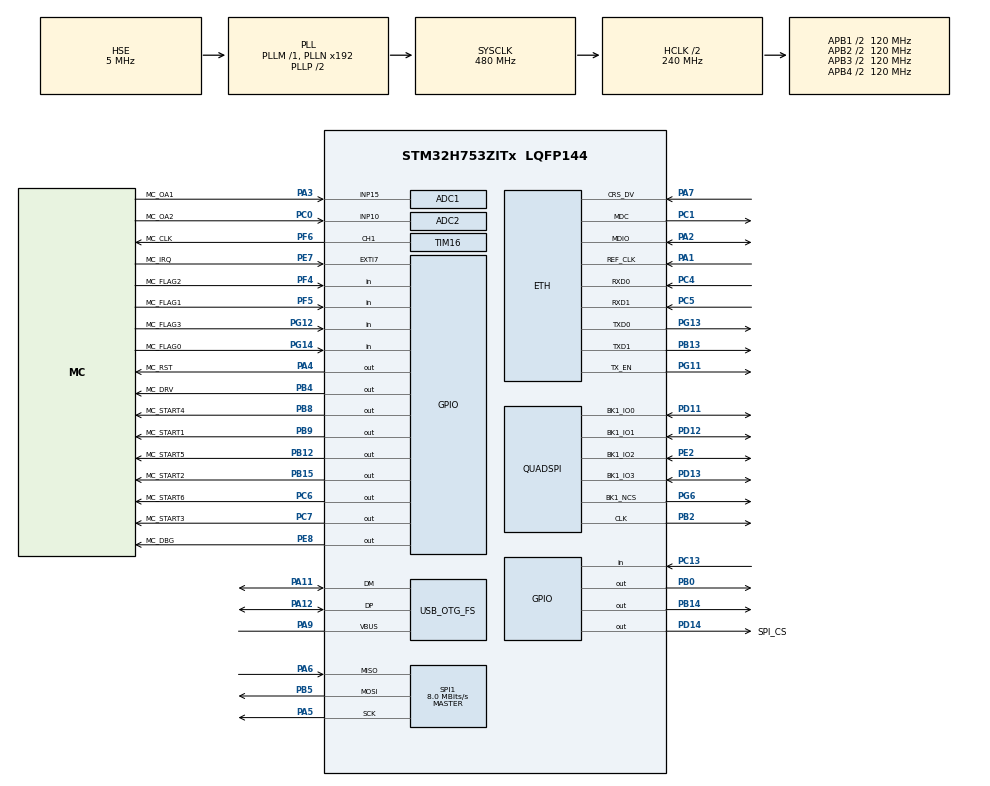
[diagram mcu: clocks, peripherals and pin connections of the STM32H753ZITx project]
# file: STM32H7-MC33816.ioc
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ADC1.Channel-0\#ChannelRegularConversion=ADC_CHANNEL_15
ADC1.ContinuousConvMode=DISABLE
ADC1.ConversionDataManagement=ADC_CONVERSIONDATA_DMA_CIRCULAR
ADC1.ExternalTrigConv=ADC_EXTERNALTRIG_T2_TRGO
ADC1.NbrOfConversion=1
ADC1.NbrOfConversionFlag=1
ADC1.OffsetNumber-0\#ChannelRegularConversion=ADC_OFFSET_NONE
ADC1.OffsetSignedSaturation-0\#ChannelRegularConversion=DISABLE
ADC1.Rank-0\#ChannelRegularConversion=1
ADC1.SamplingTime-0\#ChannelRegularConversion=ADC_SAMPLETIME_387CYCLES_5
ADC1.master=1
ADC2.Channel-0\#ChannelRegularConversion=ADC_CHANNEL_10
ADC2.ConversionDataManagement=ADC_CONVERSIONDATA_DMA_CIRCULAR
ADC2.ExternalTrigConv=ADC_EXTERNALTRIG_T2_TRGO
ADC2.NbrOfConversionFlag=1
ADC2.OffsetNumber-0\#ChannelRegularConversion=ADC_OFFSET_NONE
ADC2.OffsetSignedSaturation-0\#ChannelRegularConversion=DISABLE
ADC2.Rank-0\#ChannelRegularConversion=1
ADC2.SamplingTime-0\#ChannelRegularConversion=ADC_SAMPLETIME_387CYCLES_5
CORTEX_M7.AccessPermission-Cortex_Memory_Protection_Unit_Region1_Settings=MPU_REGION_FULL_ACCESS
CORTEX_M7.AccessPermission-Cortex_Memory_Protection_Unit_Region2_Settings=MPU_REGION_FULL_ACCESS
CORTEX_M7.BaseAddress-Cortex_Memory_Protection_Unit_Region1_Settings=0x30000000
CORTEX_M7.BaseAddress-Cortex_Memory_Protection_Unit_Region2_Settings=0x30000100
CORTEX_M7.CPU_DCache=Enabled
CORTEX_M7.CPU_ICache=Enabled
CORTEX_M7.DisableExec-Cortex_Memory_Protection_Unit_Region0_Settings=MPU_INSTRUCTION_ACCESS_DISABLE
CORTEX_M7.Enable-Cortex_Memory_Protection_Unit_Region0_Settings=MPU_REGION_ENABLE
CORTEX_M7.Enable-Cortex_Memory_Protection_Unit_Region1_Settings=MPU_REGION_ENABLE
CORTEX_M7.Enable-Cortex_Memory_Protection_Unit_Region2_Settings=MPU_REGION_ENABLE
CORTEX_M7.IsBufferable-Cortex_Memory_Protection_Unit_Region1_Settings=MPU_ACCESS_BUFFERABLE
CORTEX_M7.IsShareable-Cortex_Memory_Protection_Unit_Region0_Settings=MPU_ACCESS_SHAREABLE
CORTEX_M7.IsShareable-Cortex_Memory_Protection_Unit_Region2_Settings=MPU_ACCESS_SHAREABLE
CORTEX_M7.MPU_Control=MPU_PRIVILEGED_DEFAULT
CORTEX_M7.Size-Cortex_Memory_Protection_Unit_Region0_Settings=MPU_REGION_SIZE_4GB
CORTEX_M7.Size-Cortex_Memory_Protection_Unit_Region1_Settings=MPU_REGION_SIZE_256B
CORTEX_M7.Size-Cortex_Memory_Protection_Unit_Region2_Settings=MPU_REGION_SIZE_512KB
CORTEX_M7.SubRegionDisable-Cortex_Memory_Protection_Unit_Region0_Settings=0x87
CORTEX_M7.TypeExtField-Cortex_Memory_Protection_Unit_Region2_Settings=MPU_TEX_LEVEL1
CRYP.Algorithm=CRYP_AES_GCM
Dma.ADC1.0.Direction=DMA_PERIPH_TO_MEMORY
Dma.ADC1.0.EventEnable=DISABLE
Dma.ADC1.0.FIFOMode=DMA_FIFOMODE_DISABLE
Dma.ADC1.0.Instance=DMA1_Stream0
Dma.ADC1.0.MemDataAlignment=DMA_MDATAALIGN_HALFWORD
Dma.ADC1.0.MemInc=DMA_MINC_ENABLE
Dma.ADC1.0.Mode=DMA_CIRCULAR
Dma.ADC1.0.PeriphDataAlignment=DMA_PDATAALIGN_HALFWORD
Dma.ADC1.0.PeriphInc=DMA_PINC_DISABLE
Dma.ADC1.0.Polarity=HAL_DMAMUX_REQ_GEN_RISING
Dma.ADC1.0.Priority=DMA_PRIORITY_LOW
Dma.ADC1.0.RequestNumber=1
Dma.ADC1.0.SignalID=NONE
Dma.ADC1.0.SyncEnable=DISABLE
Dma.ADC1.0.SyncPolarity=HAL_DMAMUX_SYNC_NO_EVENT
Dma.ADC1.0.SyncRequestNumber=1
Dma.ADC1.0.SyncSignalID=NONE
Dma.ADC2.1.Direction=DMA_PERIPH_TO_MEMORY
Dma.ADC2.1.EventEnable=DISABLE
Dma.ADC2.1.FIFOMode=DMA_FIFOMODE_DISABLE
Dma.ADC2.1.Instance=DMA1_Stream1
Dma.ADC2.1.MemDataAlignment=DMA_MDATAALIGN_HALFWORD
Dma.ADC2.1.MemInc=DMA_MINC_ENABLE
Dma.ADC2.1.Mode=DMA_CIRCULAR
Dma.ADC2.1.PeriphDataAlignment=DMA_PDATAALIGN_HALFWORD
Dma.ADC2.1.PeriphInc=DMA_PINC_DISABLE
Dma.ADC2.1.Polarity=HAL_DMAMUX_REQ_GEN_RISING
Dma.ADC2.1.Priority=DMA_PRIORITY_LOW
Dma.ADC2.1.RequestNumber=1
Dma.ADC2.1.SignalID=NONE
Dma.ADC2.1.SyncEnable=DISABLE
Dma.ADC2.1.SyncPolarity=HAL_DMAMUX_SYNC_NO_EVENT
Dma.ADC2.1.SyncRequestNumber=1
Dma.ADC2.1.SyncSignalID=NONE
Dma.Request0=ADC1
Dma.Request1=ADC2
ETH.MediaInterface=HAL_ETH_RMII_MODE
FREERTOS.Tasks01=defaultTask,24,128,StartDefaultTask,Default,NULL,Dynamic,NULL,NULL
FREERTOS.configCHECK_FOR_STACK_OVERFLOW=2
FREERTOS.configENABLE_FPU=1
FREERTOS.configGENERATE_RUN_TIME_STATS=1
FREERTOS.configRECORD_STACK_HIGH_ADDRESS=1
FREERTOS.configTIMER_TASK_STACK_DEPTH=1024
FREERTOS.configUSE_STATS_FORMATTING_FUNCTIONS=1
HASH.KeySize=1
HASH.SecureHashAlgorithmType=HMAC SHA256
LWIP.BSP.number=1
LWIP.Version=v2.2.1_Cube
LWIP0.BSP.STBoard=false
LWIP0.BSP.api=BSP_COMPONENT_DRIVER
LWIP0.BSP.component=LAN8742
LWIP0.BSP.instance=LAN8742
LWIP0.BSP.name=Driver_PHY
LWIP0.BSP.semaphore=S_LAN8742
LWIP0.BSP.solution=LAN8742
Mcu.Family=STM32H7
Mcu.Name=STM32H753ZITx
Mcu.Package=LQFP144
NUCLEO-H753ZI.BUTTON=1
NUCLEO-H753ZI.LD1=true
NUCLEO-H753ZI.LD2=true
NUCLEO-H753ZI.LD3=true
NUCLEO-H753ZI.VCP=true
NVIC.ADC_IRQn=true\:5\:0\:false\:false\:true\:true\:true\:true\:true
NVIC.DMA1_Stream0_IRQn=true\:5\:0\:false\:false\:true\:true\:false\:true\:true
NVIC.DMA1_Stream1_IRQn=true\:5\:0\:false\:false\:true\:true\:false\:true\:true
NVIC.ETH_IRQn=true\:5\:0\:false\:false\:true\:true\:true\:true\:true
NVIC.EXTI15_10_IRQn=true\:5\:0\:false\:false\:true\:true\:false\:true\:true
NVIC.EXTI9_5_IRQn=true\:5\:0\:false\:false\:true\:true\:true\:true\:true
NVIC.OTG_FS_IRQn=true\:5\:0\:false\:false\:true\:true\:false\:true\:true
NVIC.PriorityGroup=NVIC_PRIORITYGROUP_4
NVIC.SPI1_IRQn=true\:5\:0\:false\:false\:true\:true\:true\:true\:true
NVIC.TIM6_DAC_IRQn=true\:15\:0\:true\:false\:true\:false\:false\:true\:true
NVIC.TimeBase=TIM6_DAC_IRQn
NVIC.TimeBaseIP=TIM6
PA1.Mode=RMII
PA1.Signal=ETH_REF_CLK
PA11.Mode=Device_Only
PA11.Signal=USB_OTG_FS_DM
PA12.Mode=Device_Only
PA12.Signal=USB_OTG_FS_DP
PA13\ (JTMS/SWDIO).Mode=Trace_Asynchronous_SW
PA13\ (JTMS/SWDIO).Signal=DEBUG_JTMS-SWDIO
PA14\ (JTCK/SWCLK).Mode=Trace_Asynchronous_SW
PA14\ (JTCK/SWCLK).Signal=DEBUG_JTCK-SWCLK
PA15\ (JTDI).Signal=DEBUG_JTDI
PA2.Mode=RMII
PA2.Signal=ETH_MDIO
PA3.GPIO_Label=MC_OA1
PA3.Signal=SharedAnalog_PA3
PA4.GPIO_Label=MC_RST
PA4.GPIO_PuPd=GPIO_NOPULL
PA4.Signal=GPIO_Output
PA5.Mode=Full_Duplex_Master
PA5.Signal=SPI1_SCK
PA6.Mode=Full_Duplex_Master
PA6.Signal=SPI1_MISO
PA7.Mode=RMII
PA7.Signal=ETH_CRS_DV
PA9.Mode=Activate_VBUS
PA9.Signal=USB_OTG_FS_VBUS
PB0.Signal=GPIO_Output
PB12.GPIO_Label=MC_START5
PB12.GPIO_PuPd=GPIO_NOPULL
PB12.Signal=GPIO_Output
PB13.Mode=RMII
PB13.Signal=ETH_TXD1
PB14.Signal=GPIO_Output
PB15.GPIO_Label=MC_START2
PB15.GPIO_PuPd=GPIO_NOPULL
PB15.Signal=GPIO_Output
PB2.Mode=Single Bank 1
PB2.Signal=QUADSPI_CLK
PB3\ (JTDO/TRACESWO).Mode=Trace_Asynchronous_SW
PB3\ (JTDO/TRACESWO).Signal=DEBUG_JTDO-SWO
PB4\ (NJTRST).GPIO_Label=MC_DRV
PB4\ (NJTRST).GPIO_PuPd=GPIO_NOPULL
PB4\ (NJTRST).Signal=GPIO_Output
PB5.Mode=Full_Duplex_Master
PB5.Signal=SPI1_MOSI
PB8.GPIO_Label=MC_START4
PB8.GPIO_PuPd=GPIO_NOPULL
PB8.Signal=GPIO_Output
PB9.GPIO_Label=MC_START1
PB9.GPIO_ModeDefaultOutputPP=GPIO_MODE_OUTPUT_PP
PB9.GPIO_PuPd=GPIO_NOPULL
PB9.Signal=GPIO_Output
PC0.GPIO_Label=MC_OA2
PC0.Signal=SharedAnalog_PC0
PC1.Mode=RMII
PC1.Signal=ETH_MDC
PC13.Signal=GPIO_Input
PC14-OSC32_IN\ (OSC32_IN).Mode=LSE-External-Oscillator
PC14-OSC32_IN\ (OSC32_IN).Signal=RCC_OSC32_IN
PC15-OSC32_OUT\ (OSC32_OUT).Mode=LSE-External-Oscillator
PC15-OSC32_OUT\ (OSC32_OUT).Signal=RCC_OSC32_OUT
PC4.Mode=RMII
PC4.Signal=ETH_RXD0
PC5.Mode=RMII
PC5.Signal=ETH_RXD1
PC6.GPIO_Label=MC_START6
PC6.GPIO_PuPd=GPIO_NOPULL
PC6.Signal=GPIO_Output
PC7.GPIO_Label=MC_START3
PC7.GPIO_PuPd=GPIO_NOPULL
PC7.Signal=GPIO_Output
PD11.Mode=Single Bank 1
PD11.Signal=QUADSPI_BK1_IO0
PD12.Mode=Single Bank 1
PD12.Signal=QUADSPI_BK1_IO1
PD13.Mode=Single Bank 1
PD13.Signal=QUADSPI_BK1_IO3
PD14.GPIO_Label=SPI_CS
PD14.GPIO_PuPd=GPIO_PULLUP
PD14.GPIO_Speed=GPIO_SPEED_FREQ_VERY_HIGH
PD14.PinState=GPIO_PIN_SET
PD14.Signal=GPIO_Output
PD8.Signal=USART3_TX
PD9.Signal=USART3_RX
PE2.Mode=Single Bank 1
PE2.Signal=QUADSPI_BK1_IO2
PE7.GPIO_Label=MC_IRQ
PE7.GPIO_ModeDefaultEXTI=GPIO_MODE_IT_FALLING
PE7.Signal=GPXTI7
PE8.GPIO_Label=MC_DBG
PE8.Signal=GPIO_Output
PF4.GPIO_Label=MC_FLAG2
PF4.Signal=GPIO_Input
PF5.GPIO_Label=MC_FLAG1
PF5.Signal=GPIO_Input
PF6.GPIO_Label=MC_CLK
PF6.Signal=S_TIM16_CH1
PG11.Mode=RMII
PG11.Signal=ETH_TX_EN
PG12.GPIO_Label=MC_FLAG3
PG12.Signal=GPIO_Input
PG13.Mode=RMII
PG13.Signal=ETH_TXD0
PG14.GPIO_Label=MC_FLAG0
PG14.Signal=GPIO_Input
PG6.Mode=Single Bank 1
PG6.Signal=QUADSPI_BK1_NCS
PH0-OSC_IN\ (PH0).Mode=HSE-External-Clock-Source
PH0-OSC_IN\ (PH0).Signal=RCC_OSC_IN
PH1-OSC_OUT\ (PH1).Signal=RCC_OSC_OUT
ProjectManager.HeapSize=0x200
ProjectManager.StackSize=0x400
ProjectManager.TargetToolchain=STM32CubeIDE
RCC.ADCFreq_Value=75000000
RCC.APB1Freq_Value=120000000
RCC.APB2Freq_Value=120000000
RCC.APB3Freq_Value=120000000
RCC.APB4Freq_Value=120000000
RCC.CortexFreq_Value=480000000
RCC.D1PPRE=RCC_APB3_DIV2
RCC.D2PPRE1=RCC_APB1_DIV2
RCC.D2PPRE2=RCC_APB2_DIV2
RCC.D3PPRE=RCC_APB4_DIV2
RCC.DIVM1=1
RCC.DIVM2=1
RCC.DIVN1=192
RCC.DIVN2=30
RCC.DIVQ1=15
RCC.HCLKFreq_Value=240000000
RCC.HPRE=RCC_HCLK_DIV2
RCC.HSE_VALUE=5000000
RCC.PLL2FRACN=0
RCC.PLL3FRACN=0
RCC.PLLFRACN=0
RCC.PLLSourceVirtual=RCC_PLLSOURCE_HSE
RCC.PWREXT_OverDrive=PWREXT_OverDrive_DESACTIVATED
RCC.RTCClockSelection=RCC_RTCCLKSOURCE_LSE
RCC.SYSCLKFreq_VALUE=480000000
RCC.SYSCLKSource=RCC_SYSCLKSOURCE_PLLCLK
RCC.USBCLockSelection=RCC_USBCLKSOURCE_HSI48
RCC.USBFreq_Value=48000000
SH.S_TIM16_CH1.0=TIM16_CH1,PWM Generation1 CH1
SH.SharedAnalog_PA3.0=GPIO_Analog
SH.SharedAnalog_PA3.1=ADC1_INP15,IN15-Single-Ended
SH.SharedAnalog_PC0.0=GPIO_Analog
SH.SharedAnalog_PC0.1=ADC2_INP10,IN10-Single-Ended
SPI1.BaudRatePrescaler=SPI_BAUDRATEPRESCALER_8
SPI1.CLKPhase=SPI_PHASE_2EDGE
SPI1.CalculateBaudRate=8.0 MBits/s
SPI1.DataSize=SPI_DATASIZE_8BIT
SPI1.Direction=SPI_DIRECTION_2LINES
SPI1.Mode=SPI_MODE_MASTER
SPI1.NSSPMode=SPI_NSS_PULSE_DISABLE
SPI1.VirtualType=VM_MASTER
TIM16.AutoReloadPreload=TIM_AUTORELOAD_PRELOAD_ENABLE
TIM16.Channel=TIM_CHANNEL_1
TIM16.Period=9
TIM16.Prescaler=23
TIM2.Period=2399
TIM2.TIM_MasterOutputTrigger=TIM_TRGO_UPDATE
USB_DEVICE.CLASS_NAME_FS=CDC
USB_DEVICE.VirtualMode-CDC_FS=Cdc
USB_DEVICE.VirtualModeFS=Cdc_FS
USB_OTG_FS.VirtualMode=Device_Only
VP_CRC_VS_CRC.Mode=CRC_Activate
VP_CRYP_VS_CRYP.Mode=CRYP_Activate
VP_FREERTOS_VS_CMSIS_V2.Mode=CMSIS_V2
VP_HASH_VS_HASH.Mode=HASH_Activate
VP_LWIP_VS_Enabled.Mode=Enabled
VP_MBEDTLS_VS_MBEDTLS.Mode=Enabled
VP_MEMORYMAP_VS_MEMORYMAP.Mode=CurAppReg
VP_NUCLEO-H753ZI_VS_BSP_COMMON.Mode=COMMON
VP_RNG_VS_RNG.Mode=RNG_Activate
VP_RTC_VS_RTC_Activate.Mode=RTC_Enabled
VP_RTC_VS_RTC_Calendar.Mode=RTC_Calendar
VP_SYS_VS_tim6.Mode=TIM6
VP_TIM16_VS_ClockSourceINT.Mode=Enable_Timer
VP_TIM2_VS_ClockSourceINT.Mode=Internal
VP_TIM5_VS_ClockSourceINT.Mode=Internal
VP_USB_DEVICE_VS_USB_DEVICE_CDC_FS.Mode=CDC_FS
board=NUCLEO-H753ZI

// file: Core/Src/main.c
/* USER CODE BEGIN Header */
/**
  ******************************************************************************
  * @file           : main.c
  * @brief          : Main program body
  ******************************************************************************
  * @attention
  *
  * Copyright (c) 2026 STMicroelectronics.
  * All rights reserved.
  *
  * This software is licensed under terms that can be found in the LICENSE file
  * in the root directory of this software component.
  * If no LICENSE file comes with this software, it is provided AS-IS.
  *
  ******************************************************************************
  */
/* USER CODE END Header */
#include "main.h"
#include "FreeRTOS.h"
#include "cmsis_os2.h"
#include "mbedtls.h"
#include "usb_device.h"

/* USER CODE BEGIN Includes */
#include "lwip.h"
#include "lwiperf_test.h"
#include "shell.h"
#include "mc33816_main.h"
/* USER CODE END Includes */

COM_InitTypeDef BspCOMInit;
ADC_HandleTypeDef hadc1;
ADC_HandleTypeDef hadc2;
DMA_HandleTypeDef hdma_adc1;
DMA_HandleTypeDef hdma_adc2;

CRC_HandleTypeDef hcrc;

CRYP_HandleTypeDef hcryp;
__ALIGN_BEGIN static const uint32_t pKeyCRYP[4] __ALIGN_END = {
                            0x00000000,0x00000000,0x00000000,0x00000000};
__ALIGN_BEGIN static const uint32_t pInitVectCRYP[4] __ALIGN_END = {
                            0x00000000,0x00000000,0x00000000,0x00000002};
__ALIGN_BEGIN static const uint32_t HeaderCRYP[1] __ALIGN_END = {
                            0x00000000};

HASH_HandleTypeDef hhash;
__ALIGN_BEGIN static const uint8_t pKeyHASH[1] __ALIGN_END = {
                            0x00};

QSPI_HandleTypeDef hqspi;

RNG_HandleTypeDef hrng;

RTC_HandleTypeDef hrtc;

SPI_HandleTypeDef hspi1;

TIM_HandleTypeDef htim2;
TIM_HandleTypeDef htim5;
TIM_HandleTypeDef htim16;

/* Definitions for defaultTask */
osThreadId_t defaultTaskHandle;
const osThreadAttr_t defaultTask_attributes = {
  .name = "defaultTask",
  .stack_size = 1024 * 4,   /* 4096 B — enlarged for USB+LwIP+shell+MC33816 init;
                               tune down once uxTaskGetStackHighWaterMark() is read */
  .priority = (osPriority_t) osPriorityNormal,
};

/* USER CODE BEGIN PV */
__attribute__((section(".rtos_heap")))
__attribute__((aligned(32)))
uint8_t ucHeap[configTOTAL_HEAP_SIZE];
/* USER CODE END PV */

void SystemClock_Config(void);
void PeriphCommonClock_Config(void);
static void MPU_Config(void);
static void MX_GPIO_Init(void);
static void MX_DMA_Init(void);
static void MX_CRC_Init(void);
static void MX_CRYP_Init(void);
static void MX_HASH_Init(void);
static void MX_RNG_Init(void);
static void MX_SPI1_Init(void);
static void MX_TIM16_Init(void);
static void MX_QUADSPI_Init(void);
static void MX_ADC1_Init(void);
static void MX_RTC_Init(void);
static void MX_TIM5_Init(void);
static void MX_TIM2_Init(void);
static void MX_ADC2_Init(void);
void StartDefaultTask(void *argument);

int main(void)
{

  /* MPU Configuration--------------------------------------------------------*/
  MPU_Config();

  /* Enable the CPU Cache */

  /* Enable I-Cache---------------------------------------------------------*/
  SCB_EnableICache();

  /* Enable D-Cache---------------------------------------------------------*/
  SCB_EnableDCache();

  /* MCU Configuration--------------------------------------------------------*/

  /* Reset of all peripherals, Initializes the Flash interface and the Systick. */
  HAL_Init();

  /* Configure the system clock */
  SystemClock_Config();

  /* Configure the peripherals common clocks */
  PeriphCommonClock_Config();

  /* Initialize all configured peripherals */
  MX_GPIO_Init();
  MX_DMA_Init();
  MX_CRC_Init();
  MX_CRYP_Init();
  MX_HASH_Init();
  MX_RNG_Init();
  MX_SPI1_Init();
  MX_TIM16_Init();
  MX_QUADSPI_Init();
  MX_ADC1_Init();
  MX_RTC_Init();
  MX_TIM5_Init();
  MX_TIM2_Init();
  MX_ADC2_Init();
  /* Call PreOsInit function */
  MX_MBEDTLS_Init();
  /* USER CODE BEGIN 2 */

  DWT_Init();
  ADC_Init();
  ADC_Start();
  /* USER CODE END 2 */

  /* Init scheduler */
  osKernelInitialize();

  /* Create the thread(s) */
  /* creation of defaultTask */
  defaultTaskHandle = osThreadNew(StartDefaultTask, NULL, &defaultTask_attributes);

  /* Initialize leds */
  BSP_LED_Init(LED_GREEN);
  BSP_LED_Init(LED_YELLOW);
  BSP_LED_Init(LED_RED);

  /* Initialize USER push-button, will be used to trigger an interrupt each time it's pressed.*/
  BSP_PB_Init(BUTTON_USER, BUTTON_MODE_EXTI);

  /* Initialize COM1 port (115200, 8 bits (7-bit data + 1 stop bit), no parity */
  BspCOMInit.BaudRate   = 115200;
  BspCOMInit.WordLength = COM_WORDLENGTH_8B;
  BspCOMInit.StopBits   = COM_STOPBITS_1;
  BspCOMInit.Parity     = COM_PARITY_NONE;
  BspCOMInit.HwFlowCtl  = COM_HWCONTROL_NONE;
  if (BSP_COM_Init(COM1, &BspCOMInit) != BSP_ERROR_NONE)
  {
    Error_Handler();
  }

  /* Start scheduler */
  osKernelStart();

  /* We should never get here as control is now taken by the scheduler */

  /* Infinite loop */
  while (1)
  {

  }
}

void SystemClock_Config(void)
{
  RCC_OscInitTypeDef RCC_OscInitStruct = {0};
  RCC_ClkInitTypeDef RCC_ClkInitStruct = {0};

  /** Supply configuration update enable
  */
  HAL_PWREx_ConfigSupply(PWR_LDO_SUPPLY);

  /** Configure the main internal regulator output voltage
  */
  __HAL_PWR_VOLTAGESCALING_CONFIG(PWR_REGULATOR_VOLTAGE_SCALE0);

  while(!__HAL_PWR_GET_FLAG(PWR_FLAG_VOSRDY)) {}

  /** Configure LSE Drive Capability
  */
  HAL_PWR_EnableBkUpAccess();
  __HAL_RCC_LSEDRIVE_CONFIG(RCC_LSEDRIVE_LOW);

  /** Initializes the RCC Oscillators according to the specified parameters
  * in the RCC_OscInitTypeDef structure.
  */
  RCC_OscInitStruct.OscillatorType = RCC_OSCILLATORTYPE_HSI48|RCC_OSCILLATORTYPE_HSE
                              |RCC_OSCILLATORTYPE_LSE;
  RCC_OscInitStruct.HSEState = RCC_HSE_BYPASS;
  RCC_OscInitStruct.LSEState = RCC_LSE_ON;
  RCC_OscInitStruct.HSI48State = RCC_HSI48_ON;
  RCC_OscInitStruct.PLL.PLLState = RCC_PLL_ON;
  RCC_OscInitStruct.PLL.PLLSource = RCC_PLLSOURCE_HSE;
  RCC_OscInitStruct.PLL.PLLM = 1;
  RCC_OscInitStruct.PLL.PLLN = 192;
  RCC_OscInitStruct.PLL.PLLP = 2;
  RCC_OscInitStruct.PLL.PLLQ = 15;
  RCC_OscInitStruct.PLL.PLLR = 2;
  RCC_OscInitStruct.PLL.PLLRGE = RCC_PLL1VCIRANGE_2;
  RCC_OscInitStruct.PLL.PLLVCOSEL = RCC_PLL1VCOWIDE;
  RCC_OscInitStruct.PLL.PLLFRACN = 0;
  if (HAL_RCC_OscConfig(&RCC_OscInitStruct) != HAL_OK)
  {
    Error_Handler();
  }

  /** Initializes the CPU, AHB and APB buses clocks
  */
  RCC_ClkInitStruct.ClockType = RCC_CLOCKTYPE_HCLK|RCC_CLOCKTYPE_SYSCLK
                              |RCC_CLOCKTYPE_PCLK1|RCC_CLOCKTYPE_PCLK2
                              |RCC_CLOCKTYPE_D3PCLK1|RCC_CLOCKTYPE_D1PCLK1;
  RCC_ClkInitStruct.SYSCLKSource = RCC_SYSCLKSOURCE_PLLCLK;
  RCC_ClkInitStruct.SYSCLKDivider = RCC_SYSCLK_DIV1;
  RCC_ClkInitStruct.AHBCLKDivider = RCC_HCLK_DIV2;
  RCC_ClkInitStruct.APB3CLKDivider = RCC_APB3_DIV2;
  RCC_ClkInitStruct.APB1CLKDivider = RCC_APB1_DIV2;
  RCC_ClkInitStruct.APB2CLKDivider = RCC_APB2_DIV2;
  RCC_ClkInitStruct.APB4CLKDivider = RCC_APB4_DIV2;

  if (HAL_RCC_ClockConfig(&RCC_ClkInitStruct, FLASH_LATENCY_4) != HAL_OK)
  {
    Error_Handler();
  }
}

void PeriphCommonClock_Config(void)
{
  RCC_PeriphCLKInitTypeDef PeriphClkInitStruct = {0};

  /** Initializes the peripherals clock
  */
  PeriphClkInitStruct.PeriphClockSelection = RCC_PERIPHCLK_ADC;
  PeriphClkInitStruct.PLL2.PLL2M = 1;
  PeriphClkInitStruct.PLL2.PLL2N = 30;
  PeriphClkInitStruct.PLL2.PLL2P = 2;
  PeriphClkInitStruct.PLL2.PLL2Q = 2;
  PeriphClkInitStruct.PLL2.PLL2R = 2;
  PeriphClkInitStruct.PLL2.PLL2RGE = RCC_PLL2VCIRANGE_2;
  PeriphClkInitStruct.PLL2.PLL2VCOSEL = RCC_PLL2VCOMEDIUM;
  PeriphClkInitStruct.PLL2.PLL2FRACN = 0;
  PeriphClkInitStruct.AdcClockSelection = RCC_ADCCLKSOURCE_PLL2;
  if (HAL_RCCEx_PeriphCLKConfig(&PeriphClkInitStruct) != HAL_OK)
  {
    Error_Handler();
  }
}

static void MX_ADC1_Init(void)
{

  ADC_MultiModeTypeDef multimode = {0};
  ADC_ChannelConfTypeDef sConfig = {0};

  /** Common config
  */
  hadc1.Instance = ADC1;
  hadc1.Init.ClockPrescaler = ADC_CLOCK_ASYNC_DIV1;
  hadc1.Init.Resolution = ADC_RESOLUTION_16B;
  hadc1.Init.ScanConvMode = ADC_SCAN_DISABLE;
  hadc1.Init.EOCSelection = ADC_EOC_SINGLE_CONV;
  hadc1.Init.LowPowerAutoWait = DISABLE;
  hadc1.Init.ContinuousConvMode = DISABLE;
  hadc1.Init.NbrOfConversion = 1;
  hadc1.Init.DiscontinuousConvMode = DISABLE;
  hadc1.Init.ExternalTrigConv = ADC_EXTERNALTRIG_T2_TRGO;
  hadc1.Init.ExternalTrigConvEdge = ADC_EXTERNALTRIGCONVEDGE_RISING;
  hadc1.Init.ConversionDataManagement = ADC_CONVERSIONDATA_DMA_CIRCULAR;
  hadc1.Init.Overrun = ADC_OVR_DATA_PRESERVED;
  hadc1.Init.LeftBitShift = ADC_LEFTBITSHIFT_NONE;
  hadc1.Init.OversamplingMode = DISABLE;
  hadc1.Init.Oversampling.Ratio = 1;
  if (HAL_ADC_Init(&hadc1) != HAL_OK)
  {
    Error_Handler();
  }

  /** Configure the ADC multi-mode
  */
  multimode.Mode = ADC_MODE_INDEPENDENT;
  if (HAL_ADCEx_MultiModeConfigChannel(&hadc1, &multimode) != HAL_OK)
  {
    Error_Handler();
  }

  /** Configure Regular Channel
  */
  sConfig.Channel = ADC_CHANNEL_15;
  sConfig.Rank = ADC_REGULAR_RANK_1;
  sConfig.SamplingTime = ADC_SAMPLETIME_387CYCLES_5;
  sConfig.SingleDiff = ADC_SINGLE_ENDED;
  sConfig.OffsetNumber = ADC_OFFSET_NONE;
  sConfig.Offset = 0;
  sConfig.OffsetSignedSaturation = DISABLE;
  if (HAL_ADC_ConfigChannel(&hadc1, &sConfig) != HAL_OK)
  {
    Error_Handler();
  }

}

static void MX_ADC2_Init(void)
{

  ADC_ChannelConfTypeDef sConfig = {0};

  /** Common config
  */
  hadc2.Instance = ADC2;
  hadc2.Init.ClockPrescaler = ADC_CLOCK_ASYNC_DIV1;
  hadc2.Init.Resolution = ADC_RESOLUTION_16B;
  hadc2.Init.ScanConvMode = ADC_SCAN_DISABLE;
  hadc2.Init.EOCSelection = ADC_EOC_SINGLE_CONV;
  hadc2.Init.LowPowerAutoWait = DISABLE;
  hadc2.Init.ContinuousConvMode = DISABLE;
  hadc2.Init.NbrOfConversion = 1;
  hadc2.Init.DiscontinuousConvMode = DISABLE;
  hadc2.Init.ExternalTrigConv = ADC_EXTERNALTRIG_T2_TRGO;
  hadc2.Init.ExternalTrigConvEdge = ADC_EXTERNALTRIGCONVEDGE_RISING;
  hadc2.Init.ConversionDataManagement = ADC_CONVERSIONDATA_DMA_CIRCULAR;
  hadc2.Init.Overrun = ADC_OVR_DATA_PRESERVED;
  hadc2.Init.LeftBitShift = ADC_LEFTBITSHIFT_NONE;
  hadc2.Init.OversamplingMode = DISABLE;
  hadc2.Init.Oversampling.Ratio = 1;
  if (HAL_ADC_Init(&hadc2) != HAL_OK)
  {
    Error_Handler();
  }

  /** Configure Regular Channel
  */
  sConfig.Channel = ADC_CHANNEL_10;
  sConfig.Rank = ADC_REGULAR_RANK_1;
  sConfig.SamplingTime = ADC_SAMPLETIME_387CYCLES_5;
  sConfig.SingleDiff = ADC_SINGLE_ENDED;
  sConfig.OffsetNumber = ADC_OFFSET_NONE;
  sConfig.Offset = 0;
  sConfig.OffsetSignedSaturation = DISABLE;
  if (HAL_ADC_ConfigChannel(&hadc2, &sConfig) != HAL_OK)
  {
    Error_Handler();
  }

}

static void MX_CRC_Init(void)
{

  hcrc.Instance = CRC;
  hcrc.Init.DefaultPolynomialUse = DEFAULT_POLYNOMIAL_ENABLE;
  hcrc.Init.DefaultInitValueUse = DEFAULT_INIT_VALUE_ENABLE;
  hcrc.Init.InputDataInversionMode = CRC_INPUTDATA_INVERSION_NONE;
  hcrc.Init.OutputDataInversionMode = CRC_OUTPUTDATA_INVERSION_DISABLE;
  hcrc.InputDataFormat = CRC_INPUTDATA_FORMAT_BYTES;
  if (HAL_CRC_Init(&hcrc) != HAL_OK)
  {
    Error_Handler();
  }

}

static void MX_CRYP_Init(void)
{

  hcryp.Instance = CRYP;
  hcryp.Init.DataType = CRYP_DATATYPE_32B;
  hcryp.Init.KeySize = CRYP_KEYSIZE_128B;
  hcryp.Init.pKey = (uint32_t *)pKeyCRYP;
  hcryp.Init.pInitVect = (uint32_t *)pInitVectCRYP;
  hcryp.Init.Algorithm = CRYP_AES_GCM;
  hcryp.Init.Header = (uint32_t *)HeaderCRYP;
  hcryp.Init.HeaderSize = 1;
  if (HAL_CRYP_Init(&hcryp) != HAL_OK)
  {
    Error_Handler();
  }

}

static void MX_HASH_Init(void)
{

  hhash.Init.DataType = HASH_DATATYPE_32B;
  hhash.Init.KeySize = 1;
  hhash.Init.pKey = (uint8_t *)pKeyHASH;
  if (HAL_HASH_Init(&hhash) != HAL_OK)
  {
    Error_Handler();
  }

}

static void MX_QUADSPI_Init(void)
{

  /* QUADSPI parameter configuration*/
  hqspi.Instance = QUADSPI;
  hqspi.Init.ClockPrescaler = 255;
  hqspi.Init.FifoThreshold = 1;
  hqspi.Init.SampleShifting = QSPI_SAMPLE_SHIFTING_NONE;
  hqspi.Init.FlashSize = 1;
  hqspi.Init.ChipSelectHighTime = QSPI_CS_HIGH_TIME_1_CYCLE;
  hqspi.Init.ClockMode = QSPI_CLOCK_MODE_0;
  hqspi.Init.FlashID = QSPI_FLASH_ID_1;
  hqspi.Init.DualFlash = QSPI_DUALFLASH_DISABLE;
  if (HAL_QSPI_Init(&hqspi) != HAL_OK)
  {
    Error_Handler();
  }

}

static void MX_RNG_Init(void)
{

  hrng.Instance = RNG;
  hrng.Init.ClockErrorDetection = RNG_CED_ENABLE;
  if (HAL_RNG_Init(&hrng) != HAL_OK)
  {
    Error_Handler();
  }

}

static void MX_RTC_Init(void)
{

  RTC_TimeTypeDef sTime = {0};
  RTC_DateTypeDef sDate = {0};

  /** Initialize RTC Only
  */
  hrtc.Instance = RTC;
  hrtc.Init.HourFormat = RTC_HOURFORMAT_24;
  hrtc.Init.AsynchPrediv = 127;
  hrtc.Init.SynchPrediv = 255;
  hrtc.Init.OutPut = RTC_OUTPUT_DISABLE;
  hrtc.Init.OutPutPolarity = RTC_OUTPUT_POLARITY_HIGH;
  hrtc.Init.OutPutType = RTC_OUTPUT_TYPE_OPENDRAIN;
  hrtc.Init.OutPutRemap = RTC_OUTPUT_REMAP_NONE;
  if (HAL_RTC_Init(&hrtc) != HAL_OK)
  {
    Error_Handler();
  }

  /** Initialize RTC and set the Time and Date
  */
  sTime.Hours = 0x0;
  sTime.Minutes = 0x0;
  sTime.Seconds = 0x0;
  sTime.DayLightSaving = RTC_DAYLIGHTSAVING_NONE;
  sTime.StoreOperation = RTC_STOREOPERATION_RESET;
  if (HAL_RTC_SetTime(&hrtc, &sTime, RTC_FORMAT_BCD) != HAL_OK)
  {
    Error_Handler();
  }
  sDate.WeekDay = RTC_WEEKDAY_MONDAY;
  sDate.Month = RTC_MONTH_JANUARY;
  sDate.Date = 0x1;
  sDate.Year = 0x0;

  if (HAL_RTC_SetDate(&hrtc, &sDate, RTC_FORMAT_BCD) != HAL_OK)
  {
    Error_Handler();
  }

}

static void MX_SPI1_Init(void)
{

  /* SPI1 parameter configuration*/
  hspi1.Instance = SPI1;
  hspi1.Init.Mode = SPI_MODE_MASTER; //SPI_MODE_SLAVE;
  hspi1.Init.Direction = SPI_DIRECTION_2LINES;
  hspi1.Init.DataSize = SPI_DATASIZE_8BIT; //SPI_DATASIZE_8BIT;
  hspi1.Init.CLKPolarity = SPI_POLARITY_LOW;
  hspi1.Init.CLKPhase = SPI_PHASE_2EDGE; // MC33816 requires CPHA=0
  hspi1.Init.NSS = SPI_NSS_SOFT;
  hspi1.Init.BaudRatePrescaler = SPI_BAUDRATEPRESCALER_8;//SPI_BAUDRATEPRESCALER_8 = 8MHz
  hspi1.Init.FirstBit = SPI_FIRSTBIT_MSB;
  hspi1.Init.TIMode = SPI_TIMODE_DISABLE;
  hspi1.Init.CRCCalculation = SPI_CRCCALCULATION_DISABLE;
  hspi1.Init.CRCPolynomial = 0x0;
  hspi1.Init.NSSPMode = SPI_NSS_PULSE_DISABLE; //SPI_NSS_PULSE_ENABLE;
  hspi1.Init.NSSPolarity = SPI_NSS_POLARITY_LOW;
  hspi1.Init.FifoThreshold = SPI_FIFO_THRESHOLD_01DATA;
  hspi1.Init.TxCRCInitializationPattern = SPI_CRC_INITIALIZATION_ALL_ZERO_PATTERN;
  hspi1.Init.RxCRCInitializationPattern = SPI_CRC_INITIALIZATION_ALL_ZERO_PATTERN;
  hspi1.Init.MasterSSIdleness = SPI_MASTER_SS_IDLENESS_00CYCLE;
  hspi1.Init.MasterInterDataIdleness = SPI_MASTER_INTERDATA_IDLENESS_00CYCLE;
  hspi1.Init.MasterReceiverAutoSusp = SPI_MASTER_RX_AUTOSUSP_DISABLE;
  hspi1.Init.MasterKeepIOState = SPI_MASTER_KEEP_IO_STATE_DISABLE;
  hspi1.Init.IOSwap = SPI_IO_SWAP_DISABLE;
  if (HAL_SPI_Init(&hspi1) != HAL_OK)
  {
    Error_Handler();
  }

}

static void MX_TIM2_Init(void)
{

  TIM_ClockConfigTypeDef sClockSourceConfig = {0};
  TIM_MasterConfigTypeDef sMasterConfig = {0};

  htim2.Instance = TIM2;
  htim2.Init.Prescaler = 0;
  htim2.Init.CounterMode = TIM_COUNTERMODE_UP;
  htim2.Init.Period = 2399; //100kHz sampling
  htim2.Init.ClockDivision = TIM_CLOCKDIVISION_DIV1;
  htim2.Init.AutoReloadPreload = TIM_AUTORELOAD_PRELOAD_ENABLE;
  if (HAL_TIM_Base_Init(&htim2) != HAL_OK)
  {
    Error_Handler();
  }
  sClockSourceConfig.ClockSource = TIM_CLOCKSOURCE_INTERNAL;
  if (HAL_TIM_ConfigClockSource(&htim2, &sClockSourceConfig) != HAL_OK)
  {
    Error_Handler();
  }
  sMasterConfig.MasterOutputTrigger = TIM_TRGO_UPDATE;
  sMasterConfig.MasterSlaveMode = TIM_MASTERSLAVEMODE_DISABLE;
  if (HAL_TIMEx_MasterConfigSynchronization(&htim2, &sMasterConfig) != HAL_OK)
  {
    Error_Handler();
  }
  /* USER CODE BEGIN TIM2_Init 2 */
  // TIM2 will be started after ADC initialization in main()
  /* USER CODE END TIM2_Init 2 */

}

static void MX_TIM5_Init(void)
{

  TIM_ClockConfigTypeDef sClockSourceConfig = {0};
  TIM_MasterConfigTypeDef sMasterConfig = {0};

  htim5.Instance = TIM5;
  htim5.Init.Prescaler = 2399; //100kHz counting frequency (240MHz / 2400)
  htim5.Init.CounterMode = TIM_COUNTERMODE_UP;
  htim5.Init.Period = 4294967295;
  htim5.Init.ClockDivision = TIM_CLOCKDIVISION_DIV1;
  htim5.Init.AutoReloadPreload = TIM_AUTORELOAD_PRELOAD_DISABLE;
  if (HAL_TIM_Base_Init(&htim5) != HAL_OK)
  {
    Error_Handler();
  }
  sClockSourceConfig.ClockSource = TIM_CLOCKSOURCE_INTERNAL;
  if (HAL_TIM_ConfigClockSource(&htim5, &sClockSourceConfig) != HAL_OK)
  {
    Error_Handler();
  }
  sMasterConfig.MasterOutputTrigger = TIM_TRGO_RESET;
  sMasterConfig.MasterSlaveMode = TIM_MASTERSLAVEMODE_DISABLE;
  if (HAL_TIMEx_MasterConfigSynchronization(&htim5, &sMasterConfig) != HAL_OK)
  {
    Error_Handler();
  }
  /* USER CODE BEGIN TIM5_Init 2 */
  HAL_TIM_Base_Start(&htim5);
  /* USER CODE END TIM5_Init 2 */

}

static void MX_TIM16_Init(void)
{

  TIM_OC_InitTypeDef sConfigOC = {0};
  TIM_BreakDeadTimeConfigTypeDef sBreakDeadTimeConfig = {0};

  htim16.Instance = TIM16;
  htim16.Init.Prescaler = 23;		// (240MHz / 24) = 10MHz
  htim16.Init.CounterMode = TIM_COUNTERMODE_UP;
  htim16.Init.Period = 9;                // (10MHz / 10) = 1MHz;
  htim16.Init.ClockDivision = TIM_CLOCKDIVISION_DIV1;
  htim16.Init.RepetitionCounter = 0;
  htim16.Init.AutoReloadPreload = TIM_AUTORELOAD_PRELOAD_ENABLE;
  if (HAL_TIM_Base_Init(&htim16) != HAL_OK)
  {
    Error_Handler();
  }
  if (HAL_TIM_PWM_Init(&htim16) != HAL_OK)
  {
    Error_Handler();
  }
  sConfigOC.OCMode = TIM_OCMODE_PWM1;
  sConfigOC.Pulse = 0;
  sConfigOC.OCPolarity = TIM_OCPOLARITY_HIGH;
  sConfigOC.OCNPolarity = TIM_OCNPOLARITY_HIGH;
  sConfigOC.OCFastMode = TIM_OCFAST_DISABLE;
  sConfigOC.OCIdleState = TIM_OCIDLESTATE_RESET;
  sConfigOC.OCNIdleState = TIM_OCNIDLESTATE_RESET;
  if (HAL_TIM_PWM_ConfigChannel(&htim16, &sConfigOC, TIM_CHANNEL_1) != HAL_OK)
  {
    Error_Handler();
  }
  sBreakDeadTimeConfig.OffStateRunMode = TIM_OSSR_DISABLE;
  sBreakDeadTimeConfig.OffStateIDLEMode = TIM_OSSI_DISABLE;
  sBreakDeadTimeConfig.LockLevel = TIM_LOCKLEVEL_OFF;
  sBreakDeadTimeConfig.DeadTime = 0;
  sBreakDeadTimeConfig.BreakState = TIM_BREAK_DISABLE;
  sBreakDeadTimeConfig.BreakPolarity = TIM_BREAKPOLARITY_HIGH;
  sBreakDeadTimeConfig.BreakFilter = 0;
  sBreakDeadTimeConfig.AutomaticOutput = TIM_AUTOMATICOUTPUT_DISABLE;
  if (HAL_TIMEx_ConfigBreakDeadTime(&htim16, &sBreakDeadTimeConfig) != HAL_OK)
  {
    Error_Handler();
  }
  /* USER CODE BEGIN TIM16_Init 2 */
  HAL_TIM_Base_Start(&htim16);
  HAL_TIM_PWM_Start(&htim16, TIM_CHANNEL_1);
  __HAL_TIM_SET_COMPARE(&htim16, TIM_CHANNEL_1, 5);
  /* USER CODE END TIM16_Init 2 */
  HAL_TIM_MspPostInit(&htim16);

}

static void MX_DMA_Init(void)
{

  /* DMA controller clock enable */
  __HAL_RCC_DMA1_CLK_ENABLE();

  /* DMA interrupt init */
  /* DMA1_Stream0_IRQn interrupt configuration */
  HAL_NVIC_SetPriority(DMA1_Stream0_IRQn, 5, 0);
  HAL_NVIC_EnableIRQ(DMA1_Stream0_IRQn);
  /* DMA1_Stream1_IRQn interrupt configuration */
  HAL_NVIC_SetPriority(DMA1_Stream1_IRQn, 5, 0);
  HAL_NVIC_EnableIRQ(DMA1_Stream1_IRQn);

}

static void MX_GPIO_Init(void)
{
  GPIO_InitTypeDef GPIO_InitStruct = {0};

  /* GPIO Ports Clock Enable */
  __HAL_RCC_GPIOE_CLK_ENABLE();
  __HAL_RCC_GPIOC_CLK_ENABLE();
  __HAL_RCC_GPIOF_CLK_ENABLE();
  __HAL_RCC_GPIOH_CLK_ENABLE();
  __HAL_RCC_GPIOA_CLK_ENABLE();
  __HAL_RCC_GPIOB_CLK_ENABLE();
  __HAL_RCC_GPIOD_CLK_ENABLE();
  __HAL_RCC_GPIOG_CLK_ENABLE();

  /*Configure GPIO pin Output Level */
  HAL_GPIO_WritePin(MC_RST_GPIO_Port, MC_RST_Pin, GPIO_PIN_RESET);

  /*Configure GPIO pin Output Level */
  HAL_GPIO_WritePin(MC_DBG_GPIO_Port, MC_DBG_Pin, GPIO_PIN_RESET);

  /*Configure GPIO pin Output Level */
  HAL_GPIO_WritePin(GPIOB, MC_START5_Pin|MC_START2_Pin|MC_DRV_Pin|MC_START4_Pin
                          |MC_START1_Pin, GPIO_PIN_RESET);

  /*Configure GPIO pin Output Level */
  HAL_GPIO_WritePin(SPI_CS_GPIO_Port, SPI_CS_Pin, GPIO_PIN_SET);

  /*Configure GPIO pin Output Level */
  HAL_GPIO_WritePin(GPIOC, MC_START6_Pin|MC_START3_Pin, GPIO_PIN_RESET);

  /*Configure GPIO pins : MC_FLAG2_Pin MC_FLAG1_Pin */
  GPIO_InitStruct.Pin = MC_FLAG2_Pin|MC_FLAG1_Pin;
  GPIO_InitStruct.Mode = GPIO_MODE_INPUT;
  GPIO_InitStruct.Pull = GPIO_NOPULL;
  HAL_GPIO_Init(GPIOF, &GPIO_InitStruct);

  /*Configure GPIO pin : MC_RST_Pin */
  GPIO_InitStruct.Pin = MC_RST_Pin;
  GPIO_InitStruct.Mode = GPIO_MODE_OUTPUT_PP;
  GPIO_InitStruct.Pull = GPIO_NOPULL;
  GPIO_InitStruct.Speed = GPIO_SPEED_FREQ_LOW;
  HAL_GPIO_Init(MC_RST_GPIO_Port, &GPIO_InitStruct);

  /*Configure GPIO pin : MC_IRQ_Pin */
  GPIO_InitStruct.Pin = MC_IRQ_Pin;
  GPIO_InitStruct.Mode = GPIO_MODE_IT_FALLING;
  GPIO_InitStruct.Pull = GPIO_NOPULL;
  HAL_GPIO_Init(MC_IRQ_GPIO_Port, &GPIO_InitStruct);

  /*Configure GPIO pin : MC_DBG_Pin */
  GPIO_InitStruct.Pin = MC_DBG_Pin;
  GPIO_InitStruct.Mode = GPIO_MODE_OUTPUT_PP;
  GPIO_InitStruct.Pull = GPIO_NOPULL;
  GPIO_InitStruct.Speed = GPIO_SPEED_FREQ_LOW;
  HAL_GPIO_Init(MC_DBG_GPIO_Port, &GPIO_InitStruct);

  /*Configure GPIO pins : MC_START5_Pin MC_START2_Pin MC_DRV_Pin MC_START4_Pin
                           MC_START1_Pin */
  GPIO_InitStruct.Pin = MC_START5_Pin|MC_START2_Pin|MC_DRV_Pin|MC_START4_Pin
                          |MC_START1_Pin;
  GPIO_InitStruct.Mode = GPIO_MODE_OUTPUT_PP;
  GPIO_InitStruct.Pull = GPIO_NOPULL;
  GPIO_InitStruct.Speed = GPIO_SPEED_FREQ_LOW;
  HAL_GPIO_Init(GPIOB, &GPIO_InitStruct);

  /*Configure GPIO pin : SPI_CS_Pin */
  GPIO_InitStruct.Pin = SPI_CS_Pin;
  GPIO_InitStruct.Mode = GPIO_MODE_OUTPUT_PP;
  GPIO_InitStruct.Pull = GPIO_PULLUP;
  GPIO_InitStruct.Speed = GPIO_SPEED_FREQ_VERY_HIGH;
  HAL_GPIO_Init(SPI_CS_GPIO_Port, &GPIO_InitStruct);

  /*Configure GPIO pins : MC_START6_Pin MC_START3_Pin */
  GPIO_InitStruct.Pin = MC_START6_Pin|MC_START3_Pin;
  GPIO_InitStruct.Mode = GPIO_MODE_OUTPUT_PP;
  GPIO_InitStruct.Pull = GPIO_NOPULL;
  GPIO_InitStruct.Speed = GPIO_SPEED_FREQ_LOW;
  HAL_GPIO_Init(GPIOC, &GPIO_InitStruct);

  /*Configure GPIO pins : MC_FLAG3_Pin MC_FLAG0_Pin */
  GPIO_InitStruct.Pin = MC_FLAG3_Pin|MC_FLAG0_Pin;
  GPIO_InitStruct.Mode = GPIO_MODE_INPUT;
  GPIO_InitStruct.Pull = GPIO_NOPULL;
  HAL_GPIO_Init(GPIOG, &GPIO_InitStruct);

  /* EXTI interrupt init*/
  HAL_NVIC_SetPriority(MC_IRQ_EXTI_IRQn, 5, 0);
  HAL_NVIC_EnableIRQ(MC_IRQ_EXTI_IRQn);

}

/* USER CODE BEGIN 4 */
//mc33816 IRQ callback
extern volatile int flag_IRQB;
void HAL_GPIO_EXTI_Callback(uint16_t GPIO_Pin)
{
	switch(GPIO_Pin)
	{
	case MC_IRQ_Pin:
		flag_IRQB = 1;
		break;
	}
}

#if (configSUPPORT_STATIC_ALLOCATION == 1)
/*
  vApplicationGetIdleTaskMemory gets called when configSUPPORT_STATIC_ALLOCATION
  equals to 1 and is required for static memory allocation support.
*/
void vApplicationGetIdleTaskMemory (StaticTask_t **ppxIdleTaskTCBBuffer, StackType_t **ppxIdleTaskStackBuffer, uint32_t *pulIdleTaskStackSize) {
  /* Idle task control block and stack */
  static StaticTask_t Idle_TCB __attribute__((aligned(8)));
  static StackType_t  Idle_Stack[configMINIMAL_STACK_SIZE] __attribute__((aligned(8)));

  *ppxIdleTaskTCBBuffer   = &Idle_TCB;
  *ppxIdleTaskStackBuffer = &Idle_Stack[0];
  *pulIdleTaskStackSize   = (uint32_t)configMINIMAL_STACK_SIZE;
}

/*
  vApplicationGetTimerTaskMemory gets called when configSUPPORT_STATIC_ALLOCATION
  equals to 1 and is required for static memory allocation support.
*/
void vApplicationGetTimerTaskMemory (StaticTask_t **ppxTimerTaskTCBBuffer, StackType_t **ppxTimerTaskStackBuffer, uint32_t *pulTimerTaskStackSize) {
  /* Timer task control block and stack */
  static StaticTask_t Timer_TCB __attribute__((aligned(8)));
  static StackType_t  Timer_Stack[configTIMER_TASK_STACK_DEPTH] __attribute__((aligned(8)));

  *ppxTimerTaskTCBBuffer   = &Timer_TCB;
  *ppxTimerTaskStackBuffer = &Timer_Stack[0];
  *pulTimerTaskStackSize   = (uint32_t)configTIMER_TASK_STACK_DEPTH;
}
#endif
/* USER CODE END 4 */

/* USER CODE BEGIN Header_StartDefaultTask */
/**
  * @brief  Function implementing the defaultTask thread.
  * @param  argument: Not used
  * @retval None
  */

// 1ms at 100kHz = 100 samples
#define BUFFER_SIZE 	2000
uint16_t buffer[BUFFER_SIZE];

/* USER CODE END Header_StartDefaultTask */
void StartDefaultTask(void *argument)
{
  /* init code for USB_DEVICE */
  MX_USB_DEVICE_Init();
  /* USER CODE BEGIN 5 */

  MX_LWIP_Init();

#if MAIN_DEBUG
  shell_init();
#endif

#if LWIP_PERF
  //perf
  //lwiperf_init();
#endif

  osDelay(10);

  ADC_TriggerCapture_t capture;
  ADC_TriggerCapture_Init(&capture, 1, 2.5f, 1, 200, buffer, BUFFER_SIZE);
  ADC_TriggerCapture_Arm(&capture);

  MC33816_init();

  /* Infinite loop */
  for(;;)
  {
	MC33816_process();

	ADC_TriggerCapture_Process(&capture);

	if (ADC_TriggerCapture_GetState(&capture) == ADC_TRIGGER_COMPLETE)
	{
		uint32_t samples = ADC_TriggerCapture_GetData(&capture);
		MAIN_DEBUG_TRACE(ADC, ("Capture COMPLETE! %lu samples, trigger at index %lu\n",
			samples, capture.trigger_index));

		ADC_TriggerCapture_Idle(&capture);
		ADC_TriggerCapture_Arm(&capture);
	}

	osDelay(10);
  }
  /* USER CODE END 5 */
}

 /* MPU Configuration */

void MPU_Config(void)
{
  MPU_Region_InitTypeDef MPU_InitStruct;

  /* Disable the MPU */
	HAL_MPU_Disable();

	/* Configure the MPU as Strongly ordered for not defined regions */
	MPU_InitStruct.Enable = MPU_REGION_ENABLE;
	MPU_InitStruct.BaseAddress = 0x00;
	MPU_InitStruct.Size = MPU_REGION_SIZE_4GB;
	MPU_InitStruct.AccessPermission = MPU_REGION_NO_ACCESS;
	MPU_InitStruct.IsBufferable = MPU_ACCESS_NOT_BUFFERABLE;
	MPU_InitStruct.IsCacheable = MPU_ACCESS_NOT_CACHEABLE;
	MPU_InitStruct.IsShareable = MPU_ACCESS_SHAREABLE;
	MPU_InitStruct.Number = MPU_REGION_NUMBER0;
	MPU_InitStruct.TypeExtField = MPU_TEX_LEVEL0;
	MPU_InitStruct.SubRegionDisable = 0x87;
	MPU_InitStruct.DisableExec = MPU_INSTRUCTION_ACCESS_DISABLE;

	HAL_MPU_ConfigRegion(&MPU_InitStruct);

	/* Configure the MPU attributes as Device not cacheable
	   for ETH DMA descriptors */
	MPU_InitStruct.Enable = MPU_REGION_ENABLE;
	MPU_InitStruct.BaseAddress = 0x30000000;
	MPU_InitStruct.Size = MPU_REGION_SIZE_256B;
	MPU_InitStruct.AccessPermission = MPU_REGION_FULL_ACCESS;
	MPU_InitStruct.IsBufferable = MPU_ACCESS_BUFFERABLE;
	MPU_InitStruct.IsCacheable = MPU_ACCESS_NOT_CACHEABLE;
	MPU_InitStruct.IsShareable = MPU_ACCESS_NOT_SHAREABLE;
	MPU_InitStruct.Number = MPU_REGION_NUMBER1;
	MPU_InitStruct.TypeExtField = MPU_TEX_LEVEL0;
	MPU_InitStruct.SubRegionDisable = 0x00;
	MPU_InitStruct.DisableExec = MPU_INSTRUCTION_ACCESS_ENABLE;

	HAL_MPU_ConfigRegion(&MPU_InitStruct);

	/* Configure the MPU attributes as Normal Non Cacheable
	   for LwIP RAM heap which contains the Tx buffers */
	MPU_InitStruct.Enable = MPU_REGION_ENABLE;
	MPU_InitStruct.BaseAddress = 0x30000100;
	MPU_InitStruct.Size = MPU_REGION_SIZE_512KB;
	MPU_InitStruct.AccessPermission = MPU_REGION_FULL_ACCESS;
	MPU_InitStruct.IsBufferable = MPU_ACCESS_NOT_BUFFERABLE;
	MPU_InitStruct.IsCacheable = MPU_ACCESS_NOT_CACHEABLE;
	MPU_InitStruct.IsShareable = MPU_ACCESS_SHAREABLE;
	MPU_InitStruct.Number = MPU_REGION_NUMBER2;
	MPU_InitStruct.TypeExtField = MPU_TEX_LEVEL1;
	MPU_InitStruct.SubRegionDisable = 0x00;
	MPU_InitStruct.DisableExec = MPU_INSTRUCTION_ACCESS_ENABLE;

	HAL_MPU_ConfigRegion(&MPU_InitStruct);

	/* Configure the MPU attributes as Normal Non Cacheable
	   for ADC DMA buffers in RAM_D3 (adc1_buffer, adc2_buffer @ 0x38000000) */
	MPU_InitStruct.Enable = MPU_REGION_ENABLE;
	MPU_InitStruct.BaseAddress = 0x38000000;
	MPU_InitStruct.Size = MPU_REGION_SIZE_64KB;
	MPU_InitStruct.AccessPermission = MPU_REGION_FULL_ACCESS;
	MPU_InitStruct.IsBufferable = MPU_ACCESS_NOT_BUFFERABLE;
	MPU_InitStruct.IsCacheable = MPU_ACCESS_NOT_CACHEABLE;
	MPU_InitStruct.IsShareable = MPU_ACCESS_SHAREABLE;
	MPU_InitStruct.Number = MPU_REGION_NUMBER3;
	MPU_InitStruct.TypeExtField = MPU_TEX_LEVEL1;
	MPU_InitStruct.SubRegionDisable = 0x00;
	MPU_InitStruct.DisableExec = MPU_INSTRUCTION_ACCESS_DISABLE;

	HAL_MPU_ConfigRegion(&MPU_InitStruct);

  /* Enable the MPU */
  HAL_MPU_Enable(MPU_PRIVILEGED_DEFAULT);
}

void HAL_TIM_PeriodElapsedCallback(TIM_HandleTypeDef *htim)
{
  if (htim->Instance == TIM6)
  {
    HAL_IncTick();
  }
}

void Error_Handler(void)
{
  __disable_irq();
  while (1)
  {
  }
}

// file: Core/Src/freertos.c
/* USER CODE BEGIN Header */
/**
  ******************************************************************************
  * File Name          : freertos.c
  * Description        : Code for freertos applications
  ******************************************************************************
  * @attention
  *
  * Copyright (c) 2026 STMicroelectronics.
  * All rights reserved.
  *
  * This software is licensed under terms that can be found in the LICENSE file
  * in the root directory of this software component.
  * If no LICENSE file comes with this software, it is provided AS-IS.
  *
  ******************************************************************************
  */
/* USER CODE END Header */

#include "FreeRTOS.h"
#include "task.h"
#include "main.h"

/* USER CODE BEGIN Variables */
extern TIM_HandleTypeDef htim5;
/* USER CODE END Variables */

/* Hook prototypes */
void configureTimerForRunTimeStats(void);
unsigned long getRunTimeCounterValue(void);
void vApplicationStackOverflowHook(xTaskHandle xTask, char *pcTaskName);

/* USER CODE BEGIN 1 */
/* Functions needed when configGENERATE_RUN_TIME_STATS is on */
__weak void configureTimerForRunTimeStats(void)
{
	__HAL_TIM_SET_COUNTER(&htim5, 0);
}

__weak unsigned long getRunTimeCounterValue(void)
{
	return __HAL_TIM_GET_COUNTER(&htim5);
}
/* USER CODE END 1 */

/* USER CODE BEGIN 4 */
void vApplicationStackOverflowHook(xTaskHandle xTask, char *pcTaskName)
{
  /* Run time stack overflow checking is performed if
   * configCHECK_FOR_STACK_OVERFLOW is defined to 1 or 2.  This hook
   * function is called if a stack overflow is detected.
   * Trap here so the debugger can identify the offending task name. */
  (void)xTask;
  (void)pcTaskName;
  __disable_irq();
  for (;;) {}
}
/* USER CODE END 4 */
